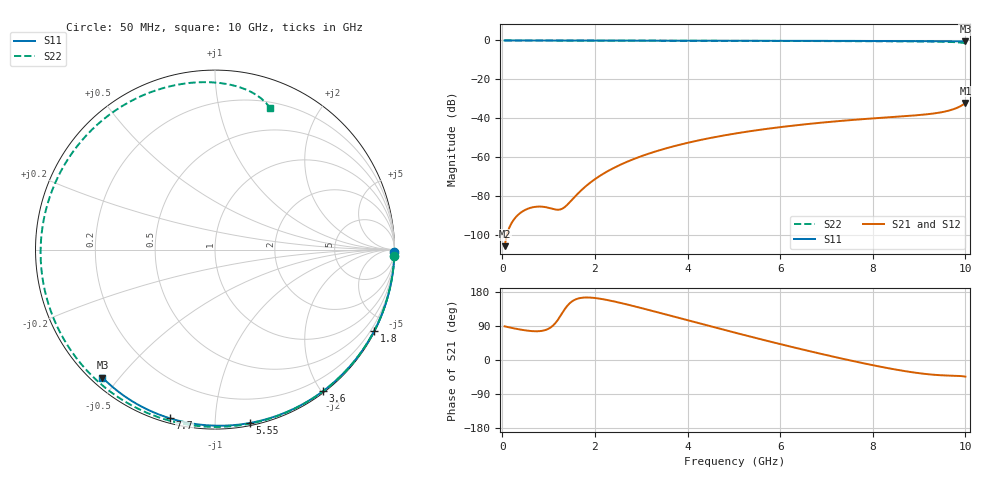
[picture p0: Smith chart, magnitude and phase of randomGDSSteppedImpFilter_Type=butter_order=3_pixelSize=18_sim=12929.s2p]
! freq	dB(S11)	phase(S11)	dB(S12)	phase(S12)
!  dB(S21)	phase(S21)	dB(S22)	phase(S22)
!S-par simulation data
#  GHz  S  DB  R 50
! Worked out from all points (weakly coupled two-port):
!   200 points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, 50 MHz to 10 GHz, reference 50 ohm
!   highest |S21| = -32.10 dB at 10 GHz (marker M1); lowest = -105.5 dB at 50 MHz (marker M2)
!   lowest |S11| = -0.5 dB at 10 GHz (marker M3), VSWR 38.49, Z = 1.56 - j22.6 ohm
!   |S11| at or under -10 dB: nowhere
!   |S22| runs from -1.5 to 0.0 dB; largest |S21 - S12| = 0
!   S11 on the Smith chart (normalised r, x): 50 MHz: open; 1.8 GHz: 0.04, -4.18; 3.6 GHz: 0.02, -2.02; 5.55 GHz: 0.02, -1.22; 7.7 GHz: 0.02, -0.77; 10 GHz: 0.03, -0.45
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0.05  -0.00 -0.8  -105.50 88.8  -105.50 88.8  -0.00 -2.0
0.75  -0.01 -11.3  -85.23 75.8  -85.23 75.8  -0.04 -29.1
1.15  -0.02 -17.3  -86.71 97.9  -86.71 97.9  -0.05 -44.0
1.55  -0.03 -23.2  -80.58 158.0  -80.58 158.0  -0.07 -58.5
1.75  -0.03 -26.2  -75.87 164.7  -75.87 164.7  -0.08 -65.4
1.8  -0.03 -26.9  -74.83 165.0  -74.83 165.0  -0.08 -67.2
2.1  -0.04 -31.3  -69.56 161.9  -69.56 161.9  -0.09 -77.2
2.45  -0.05 -36.4  -64.88 153.6  -64.88 153.6  -0.10 -88.5
2.9  -0.06 -42.8  -60.26 140.3  -60.26 140.3  -0.12 -102.3
3.4  -0.07 -49.9  -56.27 124.4  -56.27 124.4  -0.13 -116.8
3.6  -0.07 -52.7  -54.92 118.0  -54.92 118.0  -0.14 -122.3
4.35  -0.09 -62.9  -50.69 93.7  -50.69 93.7  -0.17 -142.1
5.05  -0.11 -72.2  -47.65 71.4  -47.65 71.4  -0.20 -159.5
5.55  -0.13 -78.6  -45.86 55.7  -45.86 55.7  -0.23 -171.6
6.1  -0.15 -85.6  -44.17 39.0  -44.17 39.0  -0.26 175.4
6.7  -0.18 -93.0  -42.61 21.4  -42.61 21.4  -0.30 161.1
7.7  -0.24 -105.0  -40.51 -6.1  -40.51 -6.1  -0.37 136.9
8.35  -0.29 -112.6  -39.39 -22.0  -39.39 -22.0  -0.43 120.4
8.9  -0.33 -118.9  -38.45 -33.2  -38.45 -33.2  -0.50 105.6
9.4  -0.38 -124.6  -37.16 -39.7  -37.16 -39.7  -0.61 91.0
9.75  -0.42 -128.6  -35.19 -41.5  -35.19 -41.5  -0.83 79.1
10  -0.45 -131.3  -32.10 -43.9  -32.10 -43.9  -1.45 68.6
